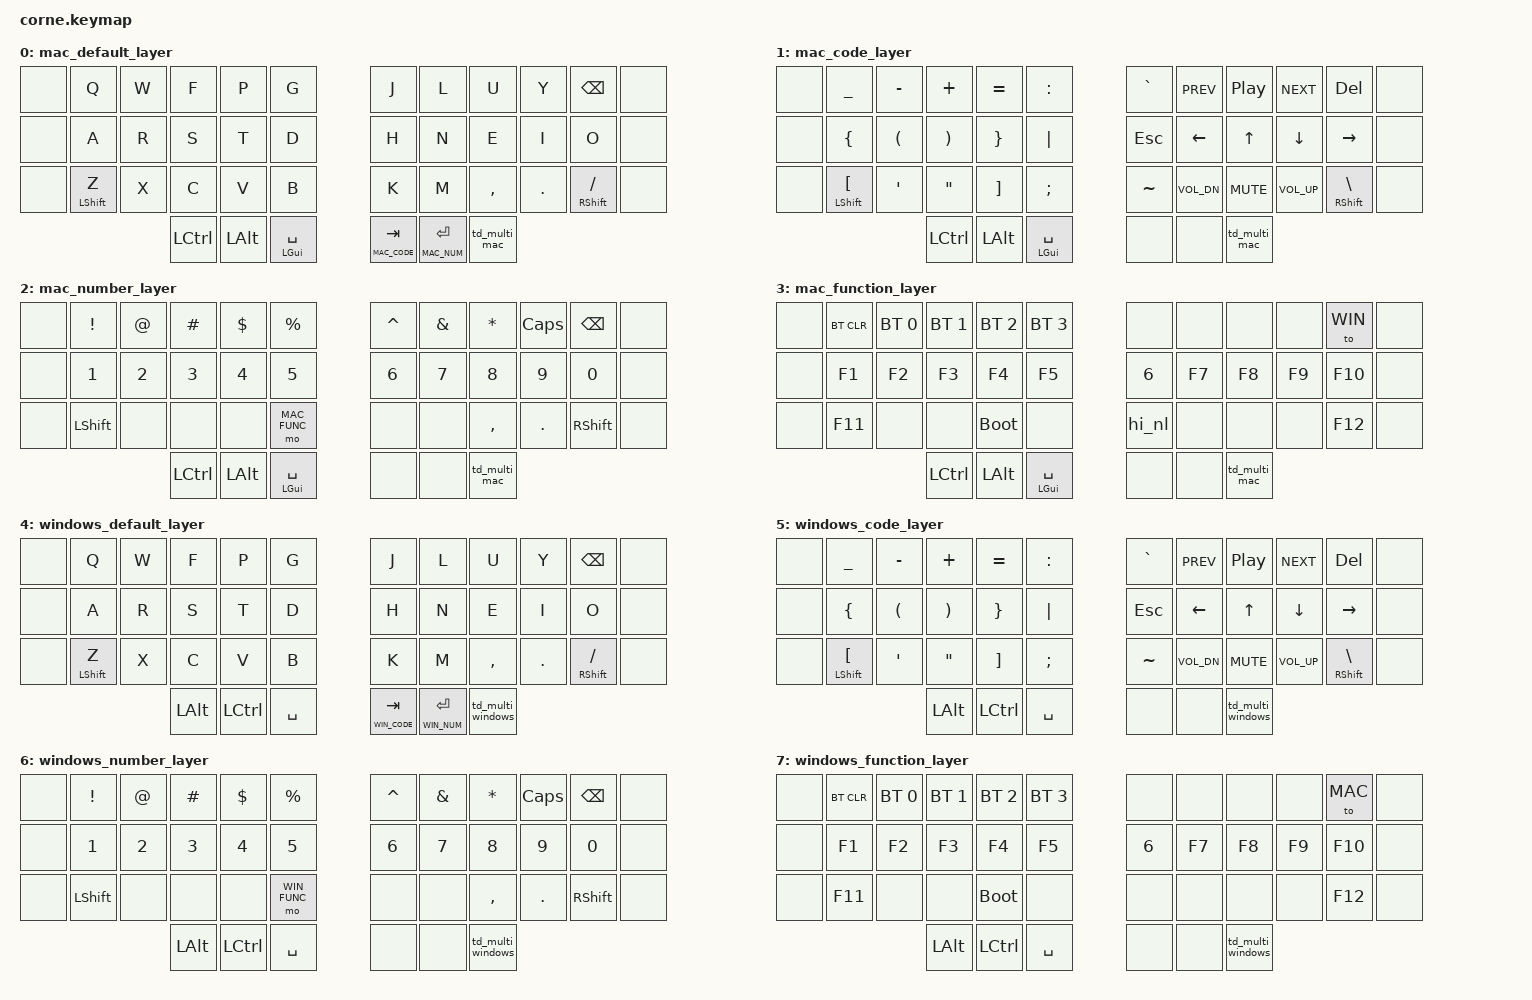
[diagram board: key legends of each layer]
#include <behaviors.dtsi>
#include <dt-bindings/zmk/keys.h>
#include <dt-bindings/zmk/bt.h>

// Layers
#define MAC 0
#define MAC_CODE 1
#define MAC_NUM 2
#define MAC_FUNC 3
#define WIN 4
#define WIN_CODE 5
#define WIN_NUM 6
#define WIN_FUNC 7

// Behavior Overrides
&lt {
    tapping-term-ms = <200>;
    flavor = "hold-preferred";
};

/ {
    //combos {
      //  compatible = "zmk,combos";
        
        //combo_tab {
        //  timeout-ms = <20>;
        //  key-positions = <1 2>;
        //  bindings = <&kp TAB>;
        //};

      //  combo_enter {
        //    timeout-ms = <20>;
          //  key-positions = <13 14>;
            //bindings = <&kp ENTER>;
        //};
    //};

    macros {
        hi_nl: hi_nl {
            label = "hi_nl";
            compatible = "zmk,behavior-macro";
            #binding-cells = <0>;
            bindings = <&hello_world>, <&macro_tap &kp SPACE>, <&hello_world>;
        };

        spotlight: spotlight {
            label = "spotlight";
            compatible = "zmk,behavior-macro";
            #binding-cells = <0>;
            bindings = <&macro_press &kp LGUI>, <&macro_tap &kp SPACE>, <&macro_release &kp LGUI>; 
        };

        // Emoji
        mac_emoji: mac_emoji {
            label = "mac_emoji";
            compatible = "zmk,behavior-macro";
            #binding-cells = <0>;
            bindings = <&macro_press &kp LGUI>, <&macro_press &kp LCTRL>, <&macro_tap &kp SPACE>, <&macro_release &kp LCTRL>, <&macro_release &kp LGUI>; 
        };

        win_emoji: win_emoji {
            label = "win_emoji";
            compatible = "zmk,behavior-macro";
            #binding-cells = <0>;
            bindings = <&macro_press &kp LGUI>, <&macro_tap &kp DOT>, <&macro_release &kp LGUI>; 
        };
    };

    behaviors {
        ZMK_SEND_STRING(hello_world, "Hello, world!",
            charmap = <&charmap_us>;
        )

        td_multi_mac: tap_dance_multi_mac {
            compatible = "zmk,behavior-tap-dance";
            label = "TAP_DANCE_MULTI_MAC";
            #binding-cells = <0>;
            tapping-term-ms = <200>;
            bindings = <&kp ESC>, <&spotlight>, <&mac_emoji>;
        };

        td_multi_windows: tap_dance_multi_windows {
            compatible = "zmk,behavior-tap-dance";
            label = "TAP_DANCE_MULTI_WINDOWS";
            #binding-cells = <0>;
            tapping-term-ms = <200>;
            bindings = <&kp ESC>, <&kp LGUI>, <&win_emoji>;
        };

        bm: bottom_row_mods {
            compatible = "zmk,behavior-hold-tap";
            label = "BOTTOM_ROW_MODS";
            #binding-cells = <2>;
            tapping-term-ms = <135>;
            quick-tap-ms = <0>;
            flavor = "tap-preferred";
            bindings = <&kp>, <&kp>;
        };

        cm: code_row_mods {
            compatible = "zmk,behavior-hold-tap";
            label = "CODE_ROW_MODS";
            #binding-cells = <2>;
            tapping-term-ms = <200>;
            quick-tap-ms = <0>;
            flavor = "tap-preferred";
            bindings = <&kp>, <&kp>;
            retro-tap;
        };

        sm: space_mod {
            compatible = "zmk,behavior-hold-tap";
            label = "SPACE_MOD";
            #binding-cells = <2>;
            flavor = "balanced";
            tapping-term-ms = <200>;
            quick-tap-ms = <125>;
            bindings = <&kp>, <&kp>;
        };
    };

    keymap {
        compatible = "zmk,keymap";

        mac_default_layer {
            bindings = <
                &none      &kp Q            &kp W      &kp F          &kp P         &kp G               &kp J                 &kp L                  &kp U              &kp Y        &kp BSPC            &none
                &none      &kp A            &kp R      &kp S          &kp T         &kp D               &kp H                 &kp N                  &kp E              &kp I        &kp O               &none
                &none      &bm LSHFT Z      &kp X      &kp C          &kp V         &kp B               &kp K                 &kp M                  &kp COMMA          &kp DOT      &bm RSHFT FSLH      &none
                                                       &kp LCTRL      &kp LALT      &sm LGUI SPACE      &lt MAC_CODE TAB      &lt MAC_NUM ENTER      &td_multi_mac      
            >;
        };

        mac_code_layer {
            bindings = <
                &none      &kp UNDER           &kp MINUS     &kp PLUS       &kp EQUAL      &kp COLON           &kp GRAVE      &kp C_PREV        &kp C_PP           &kp C_NEXT        &kp DEL             &none
                &none      &kp LBRC            &kp LPAR      &kp RPAR       &kp RBRC       &kp PIPE            &kp ESC        &kp LEFT          &kp UP             &kp DOWN          &kp RIGHT           &none
                &none      &cm LSHFT LBKT      &kp APOS      &kp DQT        &kp RBKT       &kp SEMI            &kp TILDE      &kp C_VOL_DN      &kp C_MUTE         &kp C_VOL_UP      &cm RSHFT BSLH      &none
                                                             &kp LCTRL      &kp LALT       &sm LGUI SPACE      &none          &none             &td_multi_mac      
            >;
        };

        mac_number_layer {
            bindings = < 
                &none      &kp EXCL       &kp AT      &kp HASH       &kp DLLR      &kp PRCNT           &kp CARET      &kp AMPS      &kp ASTERISK       &kp CAPS      &kp BSPC       &none
                &none      &kp N1         &kp N2      &kp N3         &kp N4        &kp N5              &kp N6         &kp N7        &kp N8             &kp N9        &kp N0         &none
                &none      &kp LSHFT      &none       &none          &none         &mo MAC_FUNC        &none          &none         &kp COMMA          &kp DOT       &kp RSHFT      &none
                                                      &kp LCTRL      &kp LALT      &sm LGUI SPACE      &none          &none         &td_multi_mac      
            >;
        };

        mac_function_layer {
            bindings =<
                &none      &bt BT_CLR      &bt BT_SEL 0      &bt BT_SEL 1      &bt BT_SEL 2      &bt BT_SEL 3        &none      &none       &none              &none       &to WIN      &none
                &none      &kp F1          &kp F2            &kp F3            &kp F4            &kp F5              &kp 6      &kp F7      &kp F8             &kp F9      &kp F10      &none
                &none      &kp F11         &none             &none             &bootloader       &none               &hi_nl      &none       &none              &none       &kp F12      &none
                                                             &kp LCTRL         &kp LALT          &sm LGUI SPACE      &none      &none       &td_multi_mac      
            >;
        };

        windows_default_layer {
            bindings = <
                &none      &kp Q            &kp W      &kp F          &kp P          &kp G          &kp J                 &kp L                  &kp U                  &kp Y        &kp BSPC            &none
                &none      &kp A            &kp R      &kp S          &kp T          &kp D          &kp H                 &kp N                  &kp E                  &kp I        &kp O               &none
                &none      &bm LSHFT Z      &kp X      &kp C          &kp V          &kp B          &kp K                 &kp M                  &kp COMMA              &kp DOT      &bm RSHFT FSLH      &none
                                                       &kp LALT       &kp LCTRL      &kp SPACE      &lt WIN_CODE TAB      &lt WIN_NUM ENTER      &td_multi_windows      
            >;
        };

        windows_code_layer {
            bindings = <
                &none      &kp UNDER           &kp MINUS     &kp PLUS       &kp EQUAL      &kp COLON      &kp GRAVE      &kp C_PREV        &kp C_PP               &kp C_NEXT        &kp DEL             &none
                &none      &kp LBRC            &kp LPAR      &kp RPAR       &kp RBRC       &kp PIPE       &kp ESC        &kp LEFT          &kp UP                 &kp DOWN          &kp RIGHT           &none
                &none      &cm LSHFT LBKT      &kp APOS      &kp DQT        &kp RBKT       &kp SEMI       &kp TILDE      &kp C_VOL_DN      &kp C_MUTE             &kp C_VOL_UP      &cm RSHFT BSLH      &none
                                                             &kp LALT       &kp LCTRL      &kp SPACE      &none          &none             &td_multi_windows      
            >;
        };

        windows_number_layer {
            bindings = < 
                &none      &kp EXCL       &kp AT      &kp HASH       &kp DLLR       &kp PRCNT        &kp CARET      &kp AMPS      &kp ASTERISK           &kp CAPS      &kp BSPC       &none  
                &none      &kp N1         &kp N2      &kp N3         &kp N4         &kp N5           &kp N6         &kp N7        &kp N8                 &kp N9        &kp N0         &none
                &none      &kp LSHFT      &none       &none          &none          &mo WIN_FUNC     &none          &none         &kp COMMA              &kp DOT       &kp RSHFT      &none
                                                      &kp LALT       &kp LCTRL      &kp SPACE        &none          &none         &td_multi_windows      
            >;
        };

        windows_function_layer {
            bindings =<
                &none      &bt BT_CLR      &bt BT_SEL 0      &bt BT_SEL 1      &bt BT_SEL 2      &bt BT_SEL 3      &none      &none       &none                  &none       &to MAC      &none
                &none      &kp F1          &kp F2            &kp F3            &kp F4            &kp F5            &kp 6      &kp F7      &kp F8                 &kp F9      &kp F10      &none
                &none      &kp F11         &none             &none             &bootloader       &none             &none      &none       &none                  &none       &kp F12      &none
                                                             &kp LALT          &kp LCTRL         &kp SPACE         &none      &none       &td_multi_windows      
            >;
        };
    };
};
